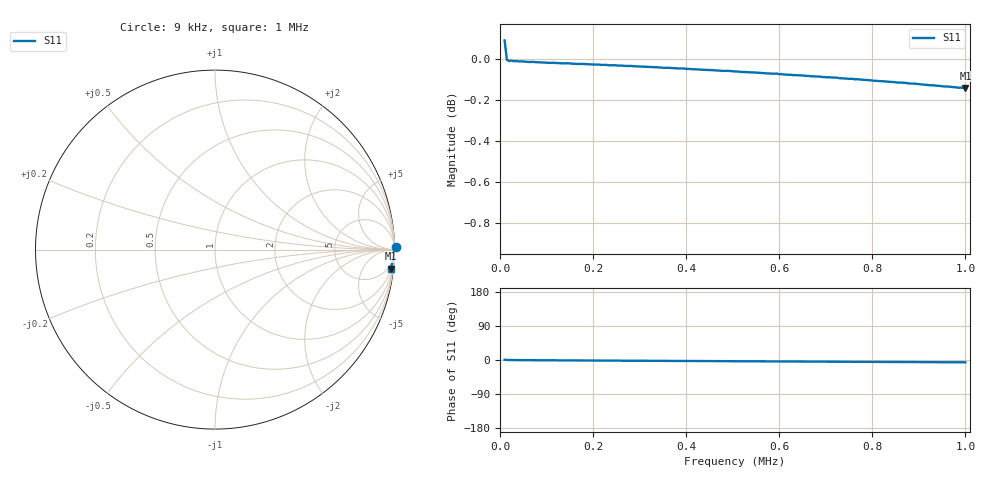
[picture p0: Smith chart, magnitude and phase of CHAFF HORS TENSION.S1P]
!Agilent Technologies,E5071C,MY46109397,A.09.54
!Date: Mon Jan 01 01:33:54 2001
!Data & Calibration Information:
!Freq	S11:SOLT1(ON)
# Hz S RI R 50
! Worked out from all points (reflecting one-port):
!   201 points, 9 kHz to 1 MHz, reference 50 ohm
!   lowest |S11| = -0.1 dB at 1 MHz (marker M1), VSWR 122.66, Z = 138 - j908 ohm
!   phase of S11 starts at 1 deg and turns -7 deg over the sweep
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9000  1.01 0.0128
13955  0.9994 0.00117
18910  0.9988 -0.000828
23865  0.999 -0.0028
28820  0.9987 -0.00385
33775  0.9988 -0.00488
53595  0.9983 -0.0078
88280  0.9979 -0.0121
132875  0.9974 -0.0172
236930  0.9961 -0.0286
256750  0.9958 -0.0306
281525  0.9955 -0.0331
380625  0.9937 -0.0435
390535  0.9937 -0.0445
504500  0.9914 -0.056
573870  0.9899 -0.0631
583780  0.9898 -0.0639
593690  0.9897 -0.0651
598645  0.9893 -0.0655
628375  0.9886 -0.0686
672970  0.9877 -0.0728
752250  0.9856 -0.081
876125  0.982 -0.0933
900900  0.9812 -0.0959
910810  0.981 -0.0966
920720  0.9806 -0.0979
965315  0.9793 -0.102
1000000  0.9781 -0.1057
